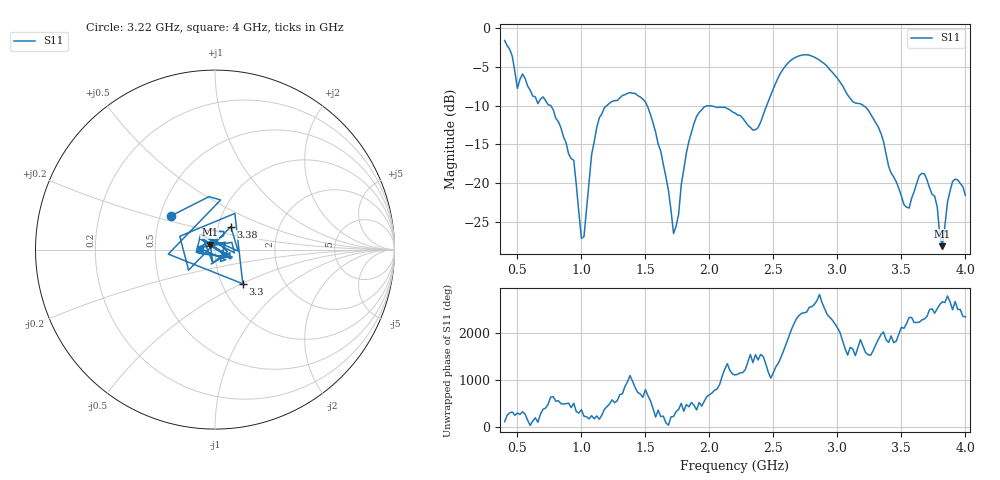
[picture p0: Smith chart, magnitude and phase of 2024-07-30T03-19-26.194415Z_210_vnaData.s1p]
!Created with skrf (http://scikit-rf.org).
# Hz S RI R 50.0
!freq ReS11 ImS11
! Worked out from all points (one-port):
!   181 points, 400 MHz to 4 GHz, reference 50 ohm
!   lowest |S11| = -28.1 dB at 3.82 GHz (marker M1), VSWR 1.08, Z = 47.1 + j2.52 ohm
!   |S11| at or under -10 dB: 760.9 MHz to 1.198 GHz (436.7 MHz wide, 44.6 % of centre); 1.513 GHz to 2.447 GHz (933.9 MHz wide, 47.2 % of centre); 3.204 GHz to end of sweep
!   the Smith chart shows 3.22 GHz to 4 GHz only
!   S11 on the Smith chart (normalised r, x): 3.22 GHz: 0.57, +0.24; 3.3 GHz: 1.25, -0.51; 3.38 GHz: 1.15, +0.30; 4 GHz: 0.85, +0.01
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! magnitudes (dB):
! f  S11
! 400 MHz  -1.6
! 500 MHz  -7.8
! 540 MHz  -5.9
! 860 MHz  -14.0
! 940 MHz  -17.0
! 1 GHz  -27.1
! 1.14 GHz  -11.6
! 1.3 GHz  -9.0
! 1.5 GHz  -9.5
! 1.62 GHz  -15.9
! 1.72 GHz  -26.5
! 1.76 GHz  -23.9
! 1.82 GHz  -16.1
! 1.9 GHz  -11.4
! 2.2 GHz  -11.0
! 2.38 GHz  -12.8
! 2.66 GHz  -3.9
! 2.86 GHz  -4.1
! 3.1 GHz  -9.1
! 3.22 GHz  -10.2
! 3.3 GHz  -12.2
! 3.38 GHz  -16.2
! 3.56 GHz  -23.2
! 3.68 GHz  -18.8
! 3.76 GHz  -21.6
! 3.82 GHz  -28.1
! 3.9 GHz  -19.8
! 4 GHz  -21.5
